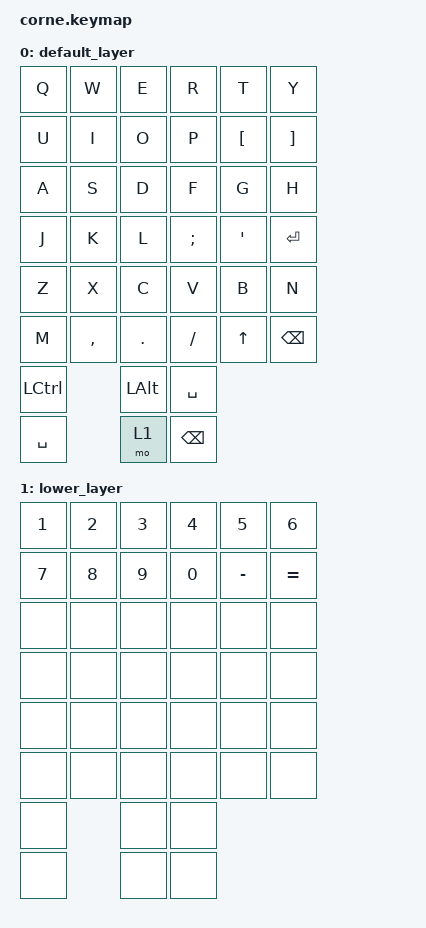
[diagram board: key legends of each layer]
/ {
    keymap {
        compatible = "zmk,keymap";

        default_layer {
            bindings = <
                &kp Q &kp W &kp E &kp R &kp T &kp Y
                &kp U &kp I &kp O &kp P &kp LBKT &kp RBKT
                &kp A &kp S &kp D &kp F &kp G &kp H
                &kp J &kp K &kp L &kp SEMI &kp SQT &kp ENTER
                &kp Z &kp X &kp C &kp V &kp B &kp N
                &kp M &kp COMMA &kp DOT &kp FSLH &kp UP &kp BSPC
                &kp LCTRL &kp LALT &kp SPACE
                &kp SPACE &mo 1 &kp BSPC
            >;
        };

        lower_layer {
            bindings = <
                &kp N1 &kp N2 &kp N3 &kp N4 &kp N5 &kp N6
                &kp N7 &kp N8 &kp N9 &kp N0 &kp MINUS &kp EQUAL
                &none &none &none &none &none &none
                &none &none &none &none &none &none
                &none &none &none &none &none &none
                &none &none &none &none &none &none
                &none &none &none
                &none &none &none
            >;
        };
    };
};
